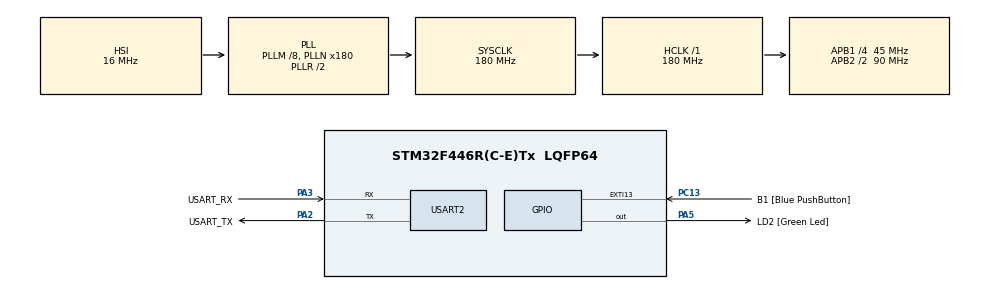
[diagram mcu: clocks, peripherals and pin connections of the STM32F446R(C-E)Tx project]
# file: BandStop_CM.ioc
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Mcu.Family=STM32F4
Mcu.Name=STM32F446R(C-E)Tx
Mcu.Package=LQFP64
NVIC.PriorityGroup=NVIC_PRIORITYGROUP_0
PA13.GPIO_Label=TMS
PA13.Mode=Serial_Wire
PA13.Signal=SYS_JTMS-SWDIO
PA14.GPIO_Label=TCK
PA14.Mode=Serial_Wire
PA14.Signal=SYS_JTCK-SWCLK
PA2.GPIO_Label=USART_TX
PA2.Mode=Asynchronous
PA2.Signal=USART2_TX
PA3.GPIO_Label=USART_RX
PA3.Mode=Asynchronous
PA3.Signal=USART2_RX
PA5.GPIO_Label=LD2 [Green Led]
PA5.Signal=GPIO_Output
PB3.GPIO_Label=SWO
PB3.Signal=SYS_JTDO-SWO
PC13.GPIO_Label=B1 [Blue PushButton]
PC13.GPIO_ModeDefaultEXTI=GPIO_MODE_IT_FALLING
PC13.Signal=GPXTI13
PC14-OSC32_IN.Mode=LSE-External-Oscillator
PC14-OSC32_IN.Signal=RCC_OSC32_IN
PC15-OSC32_OUT.Mode=LSE-External-Oscillator
PC15-OSC32_OUT.Signal=RCC_OSC32_OUT
PH0-OSC_IN.Mode=HSE-External-Oscillator
PH0-OSC_IN.Signal=RCC_OSC_IN
PH1-OSC_OUT.Mode=HSE-External-Oscillator
PH1-OSC_OUT.Signal=RCC_OSC_OUT
ProjectManager.HeapSize=0x200
ProjectManager.StackSize=0x400
ProjectManager.TargetToolchain=STM32CubeIDE
RCC.48MHZClocksFreq_Value=84000000
RCC.AHBFreq_Value=180000000
RCC.APB1CLKDivider=RCC_HCLK_DIV4
RCC.APB1Freq_Value=45000000
RCC.APB1TimFreq_Value=90000000
RCC.APB2CLKDivider=RCC_HCLK_DIV2
RCC.APB2Freq_Value=90000000
RCC.APB2TimFreq_Value=180000000
RCC.CortexFreq_Value=180000000
RCC.FLatency-AdvancedSettings=FLASH_LATENCY_5
RCC.HCLKFreq_Value=180000000
RCC.HSE_VALUE=8000000
RCC.HSI_VALUE=16000000
RCC.PLLM=8
RCC.PLLN=180
RCC.PLLP=RCC_PLLP_DIV4
RCC.SYSCLKFreq_VALUE=180000000
RCC.SYSCLKSource=RCC_SYSCLKSOURCE_PLLRCLK
RCC.USBFreq_Value=180000000
RCC.VCOOutputFreq_Value=360000000
TIM5.AutoReloadPreload=TIM_AUTORELOAD_PRELOAD_ENABLE
TIM5.Prescaler=89
USART2.VirtualMode=VM_ASYNC
VP_TIM5_VS_ClockSourceINT.Mode=Internal
board=NUCLEO-F446RE

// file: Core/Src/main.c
/* USER CODE BEGIN Header */
/**
  ******************************************************************************
  * @file           : main.c
  * @brief          : Main program body
  ******************************************************************************
  * @attention
  *
  * Copyright (c) 2024 STMicroelectronics.
  * All rights reserved.
  *
  * This software is licensed under terms that can be found in the LICENSE file
  * in the root directory of this software component.
  * If no LICENSE file comes with this software, it is provided AS-IS.
  *
  ******************************************************************************
  */
/* USER CODE END Header */
#include "main.h"

/* USER CODE BEGIN Includes */
#include <string.h>
#define ARM_MATH_CM4
#include "arm_math.h"
/* USER CODE END Includes */

TIM_HandleTypeDef htim5;

UART_HandleTypeDef huart2;

/* USER CODE BEGIN PV */
uint16_t sampleIn, sampleOut, sampleOld;
float dataIn;
uint8_t state , trigData;
float dataOut, dataInArray[5030] , dataOutArray[5030];

uint32_t usRefCnt[5027] , usCnt[5027];

float timeA;

float32_t filter_v4coeff_ASN[65] = {
		0.08958515735,-0.35641307302, -0.08816439163, -0.01673164760
		,  0.00267671775,  0.00084990737, -0.00631196308, -0.00603705704,
		  0.00207753587,  0.00743013163,  0.00284795312
		, -0.00564425406, -0.00662824652,  0.00129517476
		,  0.00747909952, 0.00392119045
		, -0.00521757386, -0.00688232905,  0.00007347480,  0.00763708999
		,  0.00488166687, -0.00444294017, -0.00755898860, -0.00049117998
		,  0.00729939486,  0.00547822890, -0.00355743075, -0.00784931271, -0.00185963258
		,  0.00646202821, 0.00616345406, -0.00258174936,  0.99254268155
		, -0.00258174936,  0.00616345406,  0.00646202821, -0.00185963258, -0.00784931271
		, -0.00355743075,  0.00547822890
		, 0.00729939486, -0.00049117998, -0.00755898860, -0.00444294017
		,  0.00488166687,  0.00763708999,  0.00007347480, -0.00688232905
		, -0.00521757386,  0.00392119045,  0.00747909952,  0.00129517476
		, -0.00662824652, -0.00564425406,  0.00284795312,  0.00743013163
		,  0.00207753587, -0.00603705704, -0.00631196308,  0.00084990737
		,  0.00267671775,-0.01673164760, -0.08816439163, -0.35641307302
		,  0.08958515735
};
float32_t real64_TB[486] = {
  -0.000952060804133, -0.00511850896509, 0.001076579968211,-0.0009265011144901,
  -0.0004804320994588,0.0003492303232949,0.0007332388711938,0.0001538093143762,
  -0.0006066743612229,-0.0005652402729948,0.0002105236464822,0.0007058189794176,
  0.0002767288432712,-0.0005177414400511,-0.0006390316812398,8.159934308783e-05,
  0.0007090748155551,0.0004119062385891,-0.000441586270555,-0.000734935094105,
  -5.850024396292e-05,0.0007222155478827, 0.000569164725518,-0.0003524137500009,
  -0.0008430933779919,-0.0002258351283765,0.0007236794983633,0.0007475391326169,
  -0.0002311017087815,-0.0009475355908719,-0.0004265108314865,0.0006931949031117,
  0.0009369136832169,-6.575574196284e-05,-0.001028828168752,-0.0006570758094133,
  0.0006143193535995, 0.001121195841442,  0.00014760392047,-0.001068188256649,
  -0.0009065263663965,0.0004766968505132, 0.001280753231922,0.0004042753874883,
  -0.001048833055397, -0.00115739600063,0.0002765629170224, 0.001395096968233,
  0.0006920640859793,-0.000959243321731,-0.001388072062838,1.877623895395e-05,
   0.001445555402925,0.0009919009541442,-0.0007947975402793,-0.001575398381825,
  -0.0002838456439298,  0.00141805125224,   0.0012800179686,-0.0005589202618465,
  -0.001697720960214,-0.0006114247867149, 0.001305512649333, 0.001530262471727,
  -0.0002642507031718,-0.001737522154988,-0.0009377037370371,  0.00110958465885,
   0.001717395961496,6.871154837627e-05,-0.001684254116639,-0.001233351451742,
  0.0008421020379415, 0.001820750297163,0.0004131365174125,-0.001535821076633,
  -0.001468779834916,0.0005228240077164, 0.001823139336034,0.0007332415350602,
   -0.00130554155803,-0.001621520413306,0.0001787726248305, 0.001720645156055,
  0.0009998416677441,-0.001006892906117,-0.001665495888104,-0.0001494387517857,
     0.0015222745796, 0.001177637601285,-0.0006765188035466,-0.001594996862144,
  -0.0004288498523927, 0.001241983729015, 0.001249501060368,-0.0003467191093262,
  -0.001415975640101,-0.0006185219712337,0.0009140364773944, 0.001189173649894,
  -6.402755810365e-05,-0.001135145146598,-0.0006912749578279,0.0005793030633666,
   0.000998388471474,0.0001326038170215,-0.0007927098983454,-0.000621425909588,
  0.0002816662169437,0.0006951288162447,0.0001998513578624,-0.0004263759793942,
  -0.0004030728413836, 7.29930881554e-05, 0.000303455300809,0.0001096050408713,
  -8.722453177393e-05,-4.19993496523e-05,-4.376397943994e-08,-0.0001340317413333,
  -0.0001553139041764,0.0001676338894565,0.0004366384915542,0.0001025725321271,
  -0.0005611749848924,-0.000594490294428,  0.00028120399988,0.0009893478777794,
  0.0004069603306234,-0.000913620722794,-0.001187140124983,0.0002025241847578,
   0.001557987175728,0.0009224605051733,-0.001125735745355,-0.001893858444671,
  -0.0001062886863086, 0.002073768291881, 0.001637176255972,-0.001135205521628,
  -0.002656824624339,-0.0006665899153086, 0.002461569718206, 0.002517320160926,
  -0.0008900832845521,-0.003403026078349,-0.001477949501832,  0.00264669729085,
   0.003507468903744,-0.0003545608868873,-0.004048922663008,-0.002515509072299,
   0.002562027769306, 0.004533469159748,0.0004866709074279,-0.004506755704743,
  -0.003729951153842, 0.002154064408579, 0.005504846850274, 0.001620662443539,
  -0.004694837483385,-0.005049564287168, 0.001390605914866, 0.006324520392883,
   0.003009882843547,-0.004540094611228,-0.006381198880224,0.0002664839895145,
   0.006894103654099, 0.004587474982994,-0.003991764268393,-0.007620410305946,
  -0.001194789830273, 0.007123796432969, 0.006264344331298,-0.003022545407196,
  -0.008655491746602,-0.002939518216394, 0.006938711203829, 0.007930946976372,
  -0.001636621240779,-0.009379430931297,-0.004884421574326, 0.006291478042539,
   0.009467146324391,0.0001284108726796,-0.009695658468387,-0.006923736527822,
   0.005159563272236,  0.01075181730248, 0.002204326988044,-0.009530569176842,
  -0.008932747051806, 0.003559288410141,  0.01166677993776, 0.004492573056272,
  -0.008837258731383, -0.01077731211168, 0.001539809867329,  0.01211338286083,
   0.006871377279746,-0.007604344969573, -0.01232530553712,-0.0008161424356647,
    0.01201955949276, 0.009201727564157,-0.005855727297851, -0.01345628889667,
  -0.003394510522945,  0.01134203084248,  0.01134044321177,-0.003653923162728,
   -0.01406801463572,-0.006060546273475,   0.0100769288745,  0.01314754749814,
  -0.001095799764423, -0.01408948187405,-0.008664259090735, 0.008259838696972,
    0.01449756785931, 0.001693715524322, -0.01348544955936,  -0.0110549861481,
   0.005964456833317,  0.01529133982218,  0.00456797512264, -0.01226038277599,
   -0.01308842983934, 0.003298103130484,  0.01546103548303, 0.007370606859408,
   -0.01045866373372, -0.01463886634236,0.0003966426783485,  0.01497847364878,
   0.009945469492706,-0.008164221572093, -0.01561024382555,-0.002587507843283,
    0.01385598045472,  0.01214792665285,-0.005493198621807,   0.9840592436903,
  -0.005493198621807,  0.01214792665285,  0.01385598045472,-0.002587507843283,
   -0.01561024382555,-0.008164221572093, 0.009945469492706,  0.01497847364878,
  0.0003966426783485, -0.01463886634236, -0.01045866373372, 0.007370606859408,
    0.01546103548303, 0.003298103130484, -0.01308842983934, -0.01226038277599,
    0.00456797512264,  0.01529133982218, 0.005964456833317,  -0.0110549861481,
   -0.01348544955936, 0.001693715524322,  0.01449756785931, 0.008259838696972,
  -0.008664259090735, -0.01408948187405,-0.001095799764423,  0.01314754749814,
     0.0100769288745,-0.006060546273475, -0.01406801463572,-0.003653923162728,
    0.01134044321177,  0.01134203084248,-0.003394510522945, -0.01345628889667,
  -0.005855727297851, 0.009201727564157,  0.01201955949276,-0.0008161424356647,
   -0.01232530553712,-0.007604344969573, 0.006871377279746,  0.01211338286083,
   0.001539809867329, -0.01077731211168,-0.008837258731383, 0.004492573056272,
    0.01166677993776, 0.003559288410141,-0.008932747051806,-0.009530569176842,
   0.002204326988044,  0.01075181730248, 0.005159563272236,-0.006923736527822,
  -0.009695658468387,0.0001284108726796, 0.009467146324391, 0.006291478042539,
  -0.004884421574326,-0.009379430931297,-0.001636621240779, 0.007930946976372,
   0.006938711203829,-0.002939518216394,-0.008655491746602,-0.003022545407196,
   0.006264344331298, 0.007123796432969,-0.001194789830273,-0.007620410305946,
  -0.003991764268393, 0.004587474982994, 0.006894103654099,0.0002664839895145,
  -0.006381198880224,-0.004540094611228, 0.003009882843547, 0.006324520392883,
   0.001390605914866,-0.005049564287168,-0.004694837483385, 0.001620662443539,
   0.005504846850274, 0.002154064408579,-0.003729951153842,-0.004506755704743,
  0.0004866709074279, 0.004533469159748, 0.002562027769306,-0.002515509072299,
  -0.004048922663008,-0.0003545608868873, 0.003507468903744,  0.00264669729085,
  -0.001477949501832,-0.003403026078349,-0.0008900832845521, 0.002517320160926,
   0.002461569718206,-0.0006665899153086,-0.002656824624339,-0.001135205521628,
   0.001637176255972, 0.002073768291881,-0.0001062886863086,-0.001893858444671,
  -0.001125735745355,0.0009224605051733, 0.001557987175728,0.0002025241847578,
  -0.001187140124983,-0.000913620722794,0.0004069603306234,0.0009893478777794,
    0.00028120399988,-0.000594490294428,-0.0005611749848924,0.0001025725321271,
  0.0004366384915542,0.0001676338894565,-0.0001553139041764,-0.0001340317413333,
  -4.376397943994e-08,-4.19993496523e-05,-8.722453177393e-05,0.0001096050408713,
   0.000303455300809, 7.29930881554e-05,-0.0004030728413836,-0.0004263759793942,
  0.0001998513578624,0.0006951288162447,0.0002816662169437,-0.000621425909588,
  -0.0007927098983454,0.0001326038170215, 0.000998388471474,0.0005793030633666,
  -0.0006912749578279,-0.001135145146598,-6.402755810365e-05, 0.001189173649894,
  0.0009140364773944,-0.0006185219712337,-0.001415975640101,-0.0003467191093262,
   0.001249501060368, 0.001241983729015,-0.0004288498523927,-0.001594996862144,
  -0.0006765188035466, 0.001177637601285,   0.0015222745796,-0.0001494387517857,
  -0.001665495888104,-0.001006892906117,0.0009998416677441, 0.001720645156055,
  0.0001787726248305,-0.001621520413306, -0.00130554155803,0.0007332415350602,
   0.001823139336034,0.0005228240077164,-0.001468779834916,-0.001535821076633,
  0.0004131365174125, 0.001820750297163,0.0008421020379415,-0.001233351451742,
  -0.001684254116639,6.871154837627e-05, 0.001717395961496,  0.00110958465885,
  -0.0009377037370371,-0.001737522154988,-0.0002642507031718, 0.001530262471727,
   0.001305512649333,-0.0006114247867149,-0.001697720960214,-0.0005589202618465,
     0.0012800179686,  0.00141805125224,-0.0002838456439298,-0.001575398381825,
  -0.0007947975402793,0.0009919009541442, 0.001445555402925,1.877623895395e-05,
  -0.001388072062838,-0.000959243321731,0.0006920640859793, 0.001395096968233,
  0.0002765629170224, -0.00115739600063,-0.001048833055397,0.0004042753874883,
   0.001280753231922,0.0004766968505132,-0.0009065263663965,-0.001068188256649,
    0.00014760392047, 0.001121195841442,0.0006143193535995,-0.0006570758094133,
  -0.001028828168752,-6.575574196284e-05,0.0009369136832169,0.0006931949031117,
  -0.0004265108314865,-0.0009475355908719,-0.0002311017087815,0.0007475391326169,
  0.0007236794983633,-0.0002258351283765,-0.0008430933779919,-0.0003524137500009,
   0.000569164725518,0.0007222155478827,-5.850024396292e-05,-0.000734935094105,
  -0.000441586270555,0.0004119062385891,0.0007090748155551,8.159934308783e-05,
  -0.0006390316812398,-0.0005177414400511,0.0002767288432712,0.0007058189794176,
  0.0002105236464822,-0.0005652402729948,-0.0006066743612229,0.0001538093143762,
  0.0007332388711938,0.0003492303232949,-0.0004804320994588,-0.0009265011144901,
   0.001076579968211, -0.00511850896509
};
float32_t FINAL[100] = {
		  -0.003257675184696, 0.008653369276161, 0.009529586358114,-0.002769580821533,
		   -0.01219544076738,-0.005434301972044, 0.009345626775536,  0.01225161588417,
		  -0.001560589533813, -0.01413014286101, -0.00803356270546, 0.009490465597452,
		    0.01500513722328,0.0002311821543768, -0.01567087098639, -0.01094052456451,
		   0.009007986549138,  0.01761507149285, 0.002558873682584, -0.01667429609067,
		   -0.01400303823924, 0.007864019643021,  0.01990240595492, 0.005326506006121,
		   -0.01702928243176, -0.01704302962025, 0.006075991127795,  0.02169991003323,
		   0.008394675918083, -0.01666851751209,  -0.0198708213216, 0.003714065368737,
		    0.02286739760722,  0.01159066693677, -0.01557641370943, -0.02230113344652,
		  0.0008972948355085,   0.0233049807716,  0.01472209000399, -0.01379237866336,
		   -0.02416920281646,  -0.0022149696433,  0.02296293550753,  0.01759277701828,
		   -0.01140901765165, -0.02534541528054,-0.005435655444123,  0.02184712746945,
		    0.02001939186898,-0.008565351961656,   0.9742530260181,-0.008565351961656,
		    0.02001939186898,  0.02184712746945,-0.005435655444123, -0.02534541528054,
		   -0.01140901765165,  0.01759277701828,  0.02296293550753,  -0.0022149696433,
		   -0.02416920281646, -0.01379237866336,  0.01472209000399,   0.0233049807716,
		  0.0008972948355085, -0.02230113344652, -0.01557641370943,  0.01159066693677,
		    0.02286739760722, 0.003714065368737,  -0.0198708213216, -0.01666851751209,
		   0.008394675918083,  0.02169991003323, 0.006075991127795, -0.01704302962025,
		   -0.01702928243176, 0.005326506006121,  0.01990240595492, 0.007864019643021,
		   -0.01400303823924, -0.01667429609067, 0.002558873682584,  0.01761507149285,
		   0.009007986549138, -0.01094052456451, -0.01567087098639,0.0002311821543768,
		    0.01500513722328, 0.009490465597452, -0.00803356270546, -0.01413014286101,
		  -0.001560589533813,  0.01225161588417, 0.009345626775536,-0.005434301972044,
		   -0.01219544076738,-0.002769580821533, 0.009529586358114, 0.008653369276161,
};

/* -------------------------------------------------------------------------------------------------*/

float32_t FIRstateF32[1024 + 1160 -1 ];
/* USER CODE END PV */

void SystemClock_Config(void);
static void MX_GPIO_Init(void);
static void MX_USART2_UART_Init(void);
static void MX_TIM5_Init(void);

int main(void)
{

  /* MCU Configuration--------------------------------------------------------*/

  /* Reset of all peripherals, Initializes the Flash interface and the Systick. */
  HAL_Init();

  /* Configure the system clock */
  SystemClock_Config();

  /* Initialize all configured peripherals */
  MX_GPIO_Init();
  MX_USART2_UART_Init();
  MX_TIM5_Init();
  /* USER CODE BEGIN 2 */
/*
  int k;
  for(k=0;k < 1160;k++)
  {
	  if ((aFIR_F32_Coeffs[k] > 0) & (aFIR_F32_Coeffs[k] < 0.001))
	  {
		  aFIR_F32_Coeffs[k] =0;
	  }
	  if ((aFIR_F32_Coeffs[k] < 0) & (aFIR_F32_Coeffs[k] < -0.001))
	  {
		  aFIR_F32_Coeffs[k] =0;
	  }
  }
*/
  sampleOld = 0;
  sampleIn = 0;
  sampleOut = 1;
  dataIn = 0;
  dataOut = 0;
  timeA = 0;
  trigData = 0;
  memset(dataInArray,0,sizeof(dataInArray));
  memset(dataOutArray,0,sizeof(dataOutArray));

  memset(usRefCnt,0,sizeof(usRefCnt));
  memset(usCnt,0,sizeof(usCnt));
 // usRefCnt = 0;
 // usCnt = 0;

  /* USER CODE END 2 */

  /* Infinite loop */
  while (1)
  {

    /* USER CODE BEGIN 3 */
	  switch (state) {
			// copy each sample to input array
	  case 0:
		  	  if(sampleIn != sampleOld)
		  	  {
		  		  dataInArray[sampleIn - 1] = dataIn;
		  		  sampleOld ++;
		  	  }
		  	  if (sampleOld == 5026)
		  	  {
		  		 sampleOld = 0;
		  		 sampleOut = 1;
		  		 state =1 ;
		  	  }
			break;
	  case 1:
		  	  // copy data in array to data out array
		  int n;
		  int i;

		  for (n = 0;n < 5027;n++)
		  {
			  usRefCnt[n] = __HAL_TIM_GET_COUNTER(&htim5);
			  for (i=0 ; i < 65;i++)
			  {
				  if((n-i) < 0)
				  {
					  break;
				  }
				  else
				  {
				  dataOutArray[n] += filter_v4coeff_ASN[i]*dataInArray[n-i];
				  }
			  }
			  usCnt[n] =  __HAL_TIM_GET_COUNTER(&htim5) - usRefCnt[n];
		  }

		  state = 2;
		  break;
	  case 2:
		  	  // with some proper sampling time copy each output array to data out variable
		  dataOut = dataOutArray[sampleOut - 1];
		  HAL_Delay(25);
		  trigData = 1;
		  HAL_Delay(25);
		  trigData = 0;
		  timeA = usCnt[sampleOut -1];
		  sampleOut ++;
		  if(sampleOut == 5026)
		  {
			  sampleOut = 1;
			  state = 3;
		  }
		  break;
	  case 3 :
		  	 break;

	}
  }
  /* USER CODE END 3 */
}

void SystemClock_Config(void)
{
  RCC_OscInitTypeDef RCC_OscInitStruct = {0};
  RCC_ClkInitTypeDef RCC_ClkInitStruct = {0};

  /** Configure the main internal regulator output voltage
  */
  __HAL_RCC_PWR_CLK_ENABLE();
  __HAL_PWR_VOLTAGESCALING_CONFIG(PWR_REGULATOR_VOLTAGE_SCALE1);

  /** Initializes the RCC Oscillators according to the specified parameters
  * in the RCC_OscInitTypeDef structure.
  */
  RCC_OscInitStruct.OscillatorType = RCC_OSCILLATORTYPE_HSI;
  RCC_OscInitStruct.HSIState = RCC_HSI_ON;
  RCC_OscInitStruct.HSICalibrationValue = RCC_HSICALIBRATION_DEFAULT;
  RCC_OscInitStruct.PLL.PLLState = RCC_PLL_ON;
  RCC_OscInitStruct.PLL.PLLSource = RCC_PLLSOURCE_HSI;
  RCC_OscInitStruct.PLL.PLLM = 8;
  RCC_OscInitStruct.PLL.PLLN = 180;
  RCC_OscInitStruct.PLL.PLLP = RCC_PLLP_DIV4;
  RCC_OscInitStruct.PLL.PLLQ = 2;
  RCC_OscInitStruct.PLL.PLLR = 2;
  if (HAL_RCC_OscConfig(&RCC_OscInitStruct) != HAL_OK)
  {
    Error_Handler();
  }

  /** Activate the Over-Drive mode
  */
  if (HAL_PWREx_EnableOverDrive() != HAL_OK)
  {
    Error_Handler();
  }

  /** Initializes the CPU, AHB and APB buses clocks
  */
  RCC_ClkInitStruct.ClockType = RCC_CLOCKTYPE_HCLK|RCC_CLOCKTYPE_SYSCLK
                              |RCC_CLOCKTYPE_PCLK1|RCC_CLOCKTYPE_PCLK2;
  RCC_ClkInitStruct.SYSCLKSource = RCC_SYSCLKSOURCE_PLLRCLK;
  RCC_ClkInitStruct.AHBCLKDivider = RCC_SYSCLK_DIV1;
  RCC_ClkInitStruct.APB1CLKDivider = RCC_HCLK_DIV4;
  RCC_ClkInitStruct.APB2CLKDivider = RCC_HCLK_DIV2;

  if (HAL_RCC_ClockConfig(&RCC_ClkInitStruct, FLASH_LATENCY_5) != HAL_OK)
  {
    Error_Handler();
  }
}

static void MX_TIM5_Init(void)
{

  TIM_ClockConfigTypeDef sClockSourceConfig = {0};
  TIM_MasterConfigTypeDef sMasterConfig = {0};

  htim5.Instance = TIM5;
  htim5.Init.Prescaler = 89;
  htim5.Init.CounterMode = TIM_COUNTERMODE_UP;
  htim5.Init.Period = 4294967295;
  htim5.Init.ClockDivision = TIM_CLOCKDIVISION_DIV1;
  htim5.Init.AutoReloadPreload = TIM_AUTORELOAD_PRELOAD_ENABLE;
  if (HAL_TIM_Base_Init(&htim5) != HAL_OK)
  {
    Error_Handler();
  }
  sClockSourceConfig.ClockSource = TIM_CLOCKSOURCE_INTERNAL;
  if (HAL_TIM_ConfigClockSource(&htim5, &sClockSourceConfig) != HAL_OK)
  {
    Error_Handler();
  }
  sMasterConfig.MasterOutputTrigger = TIM_TRGO_RESET;
  sMasterConfig.MasterSlaveMode = TIM_MASTERSLAVEMODE_DISABLE;
  if (HAL_TIMEx_MasterConfigSynchronization(&htim5, &sMasterConfig) != HAL_OK)
  {
    Error_Handler();
  }
  /* USER CODE BEGIN TIM5_Init 2 */
  HAL_TIM_Base_Start(&htim5);
  /* USER CODE END TIM5_Init 2 */

}

static void MX_USART2_UART_Init(void)
{

  huart2.Instance = USART2;
  huart2.Init.BaudRate = 115200;
  huart2.Init.WordLength = UART_WORDLENGTH_8B;
  huart2.Init.StopBits = UART_STOPBITS_1;
  huart2.Init.Parity = UART_PARITY_NONE;
  huart2.Init.Mode = UART_MODE_TX_RX;
  huart2.Init.HwFlowCtl = UART_HWCONTROL_NONE;
  huart2.Init.OverSampling = UART_OVERSAMPLING_16;
  if (HAL_UART_Init(&huart2) != HAL_OK)
  {
    Error_Handler();
  }

}

static void MX_GPIO_Init(void)
{
  GPIO_InitTypeDef GPIO_InitStruct = {0};

  /* GPIO Ports Clock Enable */
  __HAL_RCC_GPIOC_CLK_ENABLE();
  __HAL_RCC_GPIOH_CLK_ENABLE();
  __HAL_RCC_GPIOA_CLK_ENABLE();
  __HAL_RCC_GPIOB_CLK_ENABLE();

  /*Configure GPIO pin Output Level */
  HAL_GPIO_WritePin(LD2_GPIO_Port, LD2_Pin, GPIO_PIN_RESET);

  /*Configure GPIO pin : B1_Pin */
  GPIO_InitStruct.Pin = B1_Pin;
  GPIO_InitStruct.Mode = GPIO_MODE_IT_FALLING;
  GPIO_InitStruct.Pull = GPIO_NOPULL;
  HAL_GPIO_Init(B1_GPIO_Port, &GPIO_InitStruct);

  /*Configure GPIO pin : LD2_Pin */
  GPIO_InitStruct.Pin = LD2_Pin;
  GPIO_InitStruct.Mode = GPIO_MODE_OUTPUT_PP;
  GPIO_InitStruct.Pull = GPIO_NOPULL;
  GPIO_InitStruct.Speed = GPIO_SPEED_FREQ_LOW;
  HAL_GPIO_Init(LD2_GPIO_Port, &GPIO_InitStruct);

}

void Error_Handler(void)
{
  __disable_irq();
  while (1)
  {
  }
}
